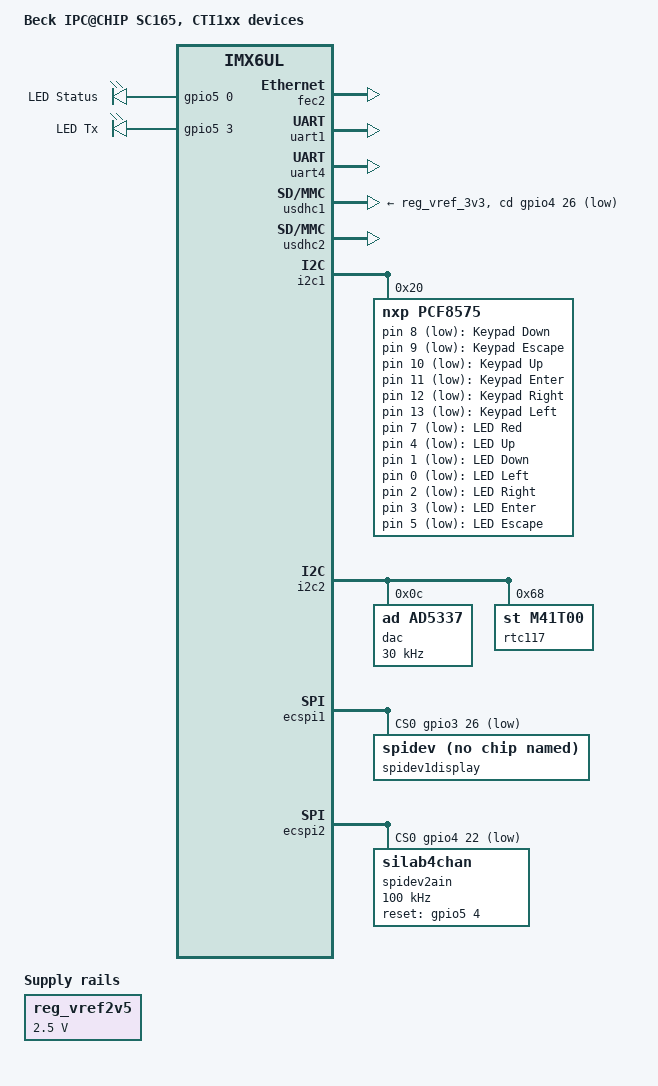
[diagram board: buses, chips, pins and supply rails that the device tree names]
/*
 * Copyright (C) 2015 Freescale Semiconductor, Inc.
 * Copyright (C) 2016 Beck IPC GmbH
 * Copyright (C) 2017, 2018 Kernel Concepts GmbH
 *
 * This program is free software; you can redistribute it and/or modify
 * it under the terms of the GNU General Public License version 2 as
 * published by the Free Software Foundation.
 *
 * Device tree for SC165-H00 on Beck CTI1xx baseboards
 *
 */

/dts-v1/;
#include "imx6ul.dtsi"
#include "imx6ul-sc165-h00.dtsi"
#include <dt-bindings/gpio/gpio.h>

/ {
	model = "Beck IPC@CHIP SC165, CTI1xx devices";
	compatible = "beck,imx6ul-sc165", "fsl,imx6ul";

	chosen {
		stdout-path = &uart4;
	};

	/* Display unit keypad */
	keypad {
		compatible = "gpio-keys-polled";
		poll-interval = <100>;
		autorepeat;

		key_down {
			label = "Keypad Down";
			linux,code = <108>;
			gpios = <&pcf8575 8 1>;
		};
		key_esc {
			label = "Keypad Escape";
			linux,code = <1>;
			gpios = <&pcf8575 9 1>;
		};
		key_up {
			label = "Keypad Up";
			linux,code = <103>;
			gpios = <&pcf8575 10 1>;
		};
		key_enter {
			label = "Keypad Enter";
			linux,code = <28>;
			gpios = <&pcf8575 11 1>;
		};
		key_right {
			label = "Keypad Right";
			linux,code = <106>;
			gpios = <&pcf8575 12 1>;
		};
		key_left {
			label = "Keypad Left";
			linux,code = <105>;
			gpios = <&pcf8575 13 1>;
		};
	};

	/* LEDs for keypad buttons */
	display-keypad-leds {
		compatible = "gpio-leds";
		led_red {
			label = "LED Red";
			gpios = <&pcf8575 7 GPIO_ACTIVE_LOW>;
			default-state = "on";
		};
		led_up {
			label = "LED Up";
			gpios = <&pcf8575 4 GPIO_ACTIVE_LOW>;
			default-state = "off";
			panic-indicator;
		};
		led_down {
			label = "LED Down";
			gpios = <&pcf8575 1 GPIO_ACTIVE_LOW>;
			default-state = "off";
			panic-indicator;
		};
		led_left {
			label = "LED Left";
			gpios = <&pcf8575 0 GPIO_ACTIVE_LOW>;
			default-state = "off";
			panic-indicator;
		};
		led_right {
			label = "LED Right";
			gpios = <&pcf8575 2 GPIO_ACTIVE_LOW>;
			default-state = "off";
			panic-indicator;
		};
		led_enter {
			label = "LED Enter";
			gpios = <&pcf8575 3 GPIO_ACTIVE_LOW>;
			default-state = "off";
			panic-indicator;
		};
		led_esc {
			label = "LED Escape";
			gpios = <&pcf8575 5 GPIO_ACTIVE_LOW>;
			default-state = "off";
			panic-indicator;
		};
	};

	/* LEDs located on main board */
	mainboard-leds {
		status = "okay";
		pinctrl-names = "default";
		pinctrl-0 = <&pinctrl_leds>;
		compatible = "gpio-leds";
		led_y {
	                label = "LED Status";
	                gpios = <&gpio5 0 GPIO_ACTIVE_HIGH>;
		        default-state = "off";
	                linux,default-trigger = "heartbeat";
	        };
		led_r {
	                label = "LED Tx";
	                gpios = <&gpio5 3 GPIO_ACTIVE_HIGH>;
		        default-state = "off";
		};
	};

	reg_vref2v5: regulator-2v5 {
		compatible = "regulator-fixed";
		regulator-name = "vref";
		regulator-min-microvolt = <2500000>;
		regulator-max-microvolt = <2500000>;
		regulator-always-on;
	};
};

&flash0 {
	partitions {
		compatible = "fixed-partitions";
		#address-cells = <1>;
		#size-cells = <1>;

		partition@0 {		/* 512k */
			label = "bootloader";
			reg = <0x0000000 0x0080000>;
			read-only;
		};

		partition@80000 {	/* 256k */
			label = "environment";
			reg = <0x0080000 0x0040000>;
		};

		partition@C0000 {	/* ubi container */
			label = "filesystem";
			reg = <0x00C0000 0xFF40000>;
		};
	};
};

&fec2 {
    status = "okay";
};

&can1 {
    status = "disabled";
};

&can2 {
    status = "disabled";
};

&uart1 {
    status = "okay";

    /* RS485 */
    linux,rs485-enabled-at-boot-time;
    rs485-rts-delay = <0 200>;              // in milliseconds
    fsl,uart-has-rtscts;
};

&uart5 {
    status = "disabled";
    /delete-node/ fsl,uart-has-rtscts;
};

&uart4 {
    status = "okay";
};

&uart5 {
    status = "disabled";
    /delete-node/ fsl,uart-has-rtscts;
};

&usdhc1 {
    status = "okay";
    cd-gpios = <&gpio4 26 GPIO_ACTIVE_LOW>; /* 117 high, 115 low */
    disable-wp;
    vmmc-supply = <&reg_vref_3v3>;
    /delete-node/ wp-gpios;
};


&usdhc2 {
    status = "okay";
};

&usbotg1 {
	status = "disabled";
};

&usbotg2 {
	status = "disabled";
};

&lcdif {
	status = "disabled";
};

&i2c1 {
    status = "okay";
    /* GPIO expander display tastatur, no IRQ line */
    pcf8575: gpio@20 {
             compatible = "nxp,pcf8575";
             reg = <0x20>;
             gpio-controller;
             #gpio-cells = <2>;
   };
};


&i2c2 {
    status = "okay";

    /* AD5337 analog out */
    dac: ad5337@0C {
	compatible = "ad,ad5337";
	reg = <0x0C>;
        vref = <&reg_vref2v5>;
	clock-frequency = <30000>;
    };

    /* External RTC CTI 117 */
    rtc117: m41t00@68 {
	compatible = "st,m41t00";
	reg = <0x68>;
    };
};

&i2c4 { /* cannot work because of digital input pins */
    status = "disabled";

    /* External RTC CTI 115 */
    rtc115: m41t00@68 {
	compatible = "st,m41t00";
	reg = <0x68>;
    };
};

&ecspi1 {
    fsl,spi-num-chipselects = <1>;
    cs-gpios = <&gpio3 26 GPIO_ACTIVE_LOW>;
    pinctrl-names = "default";
    pinctrl-0 = <&pinctrl_ecspi1>;
    status = "okay";

    /* Display */
    spidev1display: spidev@0 {
        compatible = "spidev";
        spi-max-frequency = <0>;
        reg = <0>;
    };
};

&pinctrl_ecspi1 {
	fsl,pins = <
		MX6UL_PAD_CSI_DATA07__ECSPI1_MISO   0x1b020
		MX6UL_PAD_CSI_DATA06__ECSPI1_MOSI   0x1b020
		MX6UL_PAD_CSI_DATA04__ECSPI1_SCLK   0x1b020
	>;
};

&ecspi2 {
    fsl,spi-num-chipselects = <1>;
    cs-gpios = <&gpio4 22 GPIO_ACTIVE_LOW>;
    pinctrl-names = "default";
    pinctrl-0 = <&pinctrl_ecspi2>;
    status = "okay";

    /* C0851F352 "Silab" analog input */
    spidev2ain: spidev@1 {
        compatible = "silab4chan";
        spi-max-frequency = <100000>;
        spi-cpha=<1>;
        spi-cpol=<1>;
        reg = <0>;
        pinctrl-names = "default";
        pinctrl-0 = <&pinctrl_silab>;
        gpio-reset = <&gpio5 4 GPIO_ACTIVE_HIGH>;
    };
};

/* SPI2 */
&pinctrl_ecspi2 {
    fsl,pins = <
	MX6UL_PAD_CSI_DATA01__GPIO4_IO22     0x0b0b0
        MX6UL_PAD_CSI_DATA03__ECSPI2_MISO    0x1b020
        MX6UL_PAD_CSI_DATA02__ECSPI2_MOSI    0x1b020
        MX6UL_PAD_CSI_DATA00__ECSPI2_SCLK    0x1b020
    >;
};


&iomuxc {
	hoggrp {
		fsl,pins = <
			MX6UL_PAD_LCD_DATA17__GPIO3_IO22	0x0b0b0 /* switch SW2: USR */
			MX6UL_PAD_LCD_DATA19__GPIO3_IO24	0x0b0b0 /* switch SW1: INIT */
			MX6UL_PAD_LCD_DATA20__GPIO3_IO25	0x0b0b0 /* relay RL1: Q1 */
			MX6UL_PAD_LCD_DATA21__GPIO3_IO26	0x0b0b0 /* display SPI CS */
			MX6UL_PAD_LCD_DATA22__GPIO3_IO27	0x0b0b0 /* relay RL2: Q2 */
			MX6UL_PAD_LCD_DATA23__GPIO3_IO28	0x0b0b0 /* relay RL3: Q3 */
			MX6UL_PAD_LCD_DATA15__GPIO3_IO20	0x0b0b0 /* relay RL4: Q4 */
			MX6UL_PAD_UART5_TX_DATA__GPIO1_IO30	0x0b0b0 /* solid state relay RL5: Q5 */
			MX6UL_PAD_UART5_RX_DATA__GPIO1_IO31	0x0b0b0 /* solid state relay RL6: Q6 */
			MX6UL_PAD_UART2_CTS_B__GPIO1_IO22	0x0b0b0 /* digital input DI4: IN1 */
			MX6UL_PAD_UART2_TX_DATA__GPIO1_IO20	0x0b0b0 /* digital input DI2: IN2 */
			MX6UL_PAD_UART2_RX_DATA__GPIO1_IO21	0x0b0b0 /* digital input DI3: IN3 */
			MX6UL_PAD_UART2_RTS_B__GPIO1_IO23	0x0b0b0 /* digital input DI1: IN4 */
			MX6UL_PAD_SNVS_TAMPER1__GPIO5_IO01	0x0b0b0 /* Display register select */
		>;
	};

	pinctrl_leds: mbleds {
		fsl,pins = <
			MX6UL_PAD_SNVS_TAMPER0__GPIO5_IO00	0x0b0b0 /* Status LED */
			MX6UL_PAD_SNVS_TAMPER3__GPIO5_IO03	0x0b0b0 /* TX LED */
		>;
	};

	pinctrl_silab: silabreset {
		fsl,pins = <
			MX6UL_PAD_SNVS_TAMPER4__GPIO5_IO04	0x0b0b0 /* RST_AI */
		>;
	};

    /* SDIO1 / SDHC card */
    pinctrl_usdhc1_default {
        fsl,pins = <
            MX6UL_PAD_SD1_CMD__USDHC1_CMD           0x17059
            MX6UL_PAD_SD1_CLK__USDHC1_CLK           0x10071
            MX6UL_PAD_SD1_DATA0__USDHC1_DATA0       0x17059
            MX6UL_PAD_SD1_DATA1__USDHC1_DATA1       0x17059
            MX6UL_PAD_SD1_DATA2__USDHC1_DATA2       0x17059
            MX6UL_PAD_SD1_DATA3__USDHC1_DATA3       0x17059
            MX6UL_PAD_CSI_DATA05__GPIO4_IO26        0x17059 /* SD1 CD */
        >;
    };

    pinctrl_usdhc1_100mhz {
        fsl,pins = <
            MX6UL_PAD_SD1_CMD__USDHC1_CMD           0x170b9
            MX6UL_PAD_SD1_CLK__USDHC1_CLK           0x100b9
            MX6UL_PAD_SD1_DATA0__USDHC1_DATA0       0x170b9
            MX6UL_PAD_SD1_DATA1__USDHC1_DATA1       0x170b9
            MX6UL_PAD_SD1_DATA2__USDHC1_DATA2       0x170b9
            MX6UL_PAD_SD1_DATA3__USDHC1_DATA3       0x170b9
            MX6UL_PAD_CSI_DATA05__GPIO4_IO26        0x17059 /* SD1 CD */
        >;
    };

    pinctrl_usdhc1_200mhz {
        fsl,pins = <
            MX6UL_PAD_SD1_CMD__USDHC1_CMD           0x170f9
            MX6UL_PAD_SD1_CLK__USDHC1_CLK           0x100f9
            MX6UL_PAD_SD1_DATA0__USDHC1_DATA0       0x170f9
            MX6UL_PAD_SD1_DATA1__USDHC1_DATA1       0x170f9
            MX6UL_PAD_SD1_DATA2__USDHC1_DATA2       0x170f9
            MX6UL_PAD_SD1_DATA3__USDHC1_DATA3       0x170f9
            MX6UL_PAD_CSI_DATA05__GPIO4_IO26        0x17059 /* SD1 CD */
        >;
    };
};
